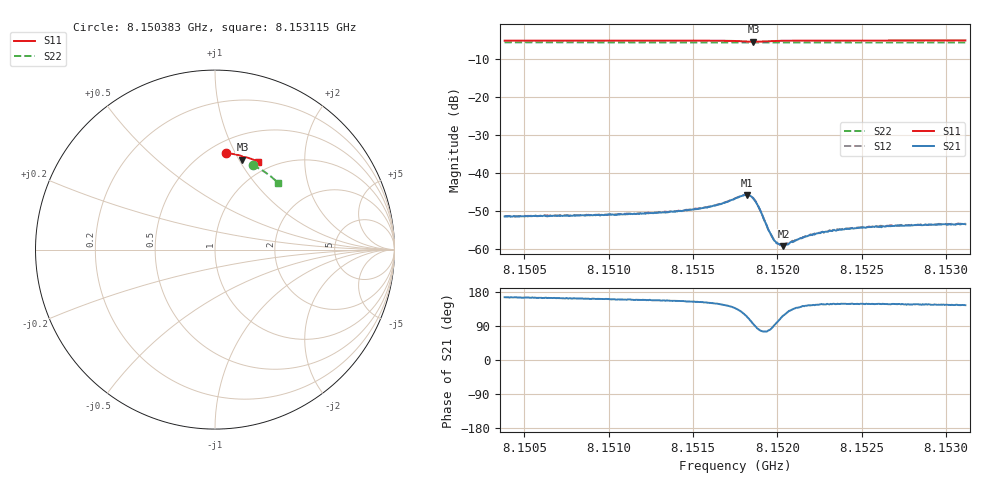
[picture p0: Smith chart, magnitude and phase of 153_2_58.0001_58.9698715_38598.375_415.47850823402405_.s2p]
#  HZ  S  RI  R  50.00
! Rohde & Schwarz Vector Network Analyzer
! Rohde-Schwarz,ZNB20-2Port,1311601062101988,3.16
! Created: UTC 3/21/2024, 12:57:07 AM
! freq[Hz]  re:S11  im:S11  re:S21  im:S21  re:S12  im:S12  re:S22  im:S22
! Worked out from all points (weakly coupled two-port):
!   401 points, 8.150383 GHz to 8.153115 GHz, reference 50 ohm
!   highest |S21| = -45.76 dB at 8.151817 GHz (marker M1); lowest = -59.2 dB at 8.152036 GHz (marker M2)
!   lowest |S11| = -5.6 dB at 8.151858 GHz (marker M3), VSWR 3.20, Z = 37.4 + j51.7 ohm
!   |S11| at or under -10 dB: nowhere
!   |S22| runs from -5.8 to -5.8 dB; largest |S21 - S12| = 0.00012
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8.1503831e9  0.0587 0.5381  -0.0026 0.000665  -0.00257 0.000717  0.2105 0.4703
8.1508407e9  0.0909 0.5343  -0.00266 0.000843  -0.00264 0.000919  0.2369 0.4568
8.1512983e9  0.1233 0.5284  -0.00279 0.00115  -0.00282 0.00125  0.2625 0.442
8.1514349e9  0.1334 0.5259  -0.00287 0.00131  -0.0029 0.00138  0.2699 0.4373
8.1515851e9  0.145 0.5222  -0.00309 0.00169  -0.0031 0.00174  0.2779 0.432
8.1516876e9  0.1535 0.5179  -0.00333 0.00233  -0.00332 0.00241  0.2834 0.4282
8.151749e9  0.1585 0.5129  -0.00337 0.00314  -0.00332 0.00324  0.2867 0.4256
8.1518173e9  0.1591 0.5035  -0.00223 0.00465  -0.00214 0.00472  0.2899 0.4229
8.1518378e9  0.1565 0.5015  -0.00132 0.00485  -0.00123 0.0049  0.291 0.4222
8.1518583e9  0.1529 0.5012  -0.000377 0.00458  -0.000292 0.00464  0.292 0.4216
8.151872e9  0.151 0.5025  0.000171 0.00417  0.000218 0.00423  0.2924 0.4212
8.1518925e9  0.1494 0.5055  0.000606 0.0034  0.000677 0.00338  0.2934 0.4205
8.1519539e9  0.1535 0.513  0.000322 0.00165  0.000335 0.00165  0.2967 0.4185
8.1519744e9  0.1555 0.5142  5.46e-05 0.00138  0.000102 0.00139  0.2979 0.4177
8.1520017e9  0.1587 0.515  -0.000233 0.00117  -0.000181 0.00117  0.2992 0.4167
8.1520222e9  0.1609 0.5153  -0.000424 0.00105  -0.000423 0.00104  0.3005 0.416
8.1520359e9  0.1621 0.5154  -0.000507 0.000972  -0.000473 0.000992  0.3011 0.4154
8.1522066e9  0.177 0.5133  -0.00126 0.000891  -0.00122 0.000918  0.31 0.4087
8.1523432e9  0.1871 0.5104  -0.00148 0.000948  -0.00151 0.000963  0.3168 0.4032
8.1524866e9  0.1972 0.5073  -0.00162 0.00103  -0.00161 0.00104  0.3238 0.3973
8.1526642e9  0.2092 0.5028  -0.00169 0.00109  -0.0017 0.00112  0.3324 0.3898
8.153115e9  0.2384 0.4904  -0.00173 0.00123  -0.00175 0.00127  0.3533 0.3702
